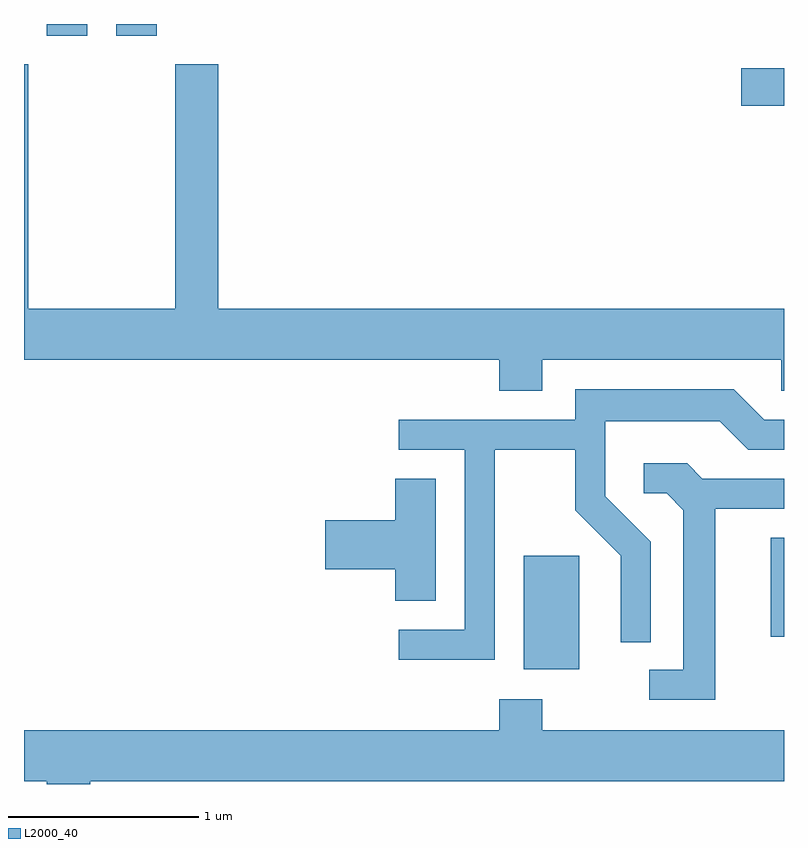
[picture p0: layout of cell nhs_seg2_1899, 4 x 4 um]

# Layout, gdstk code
import gdstk
lib = gdstk.Library(unit=1e-6, precision=1e-09)
def R(c, l, rs):  # rectangles x0, y0, x1, y1
    for r in rs: c.add(gdstk.rectangle(r[:2], r[2:], *l))
def P(c, l, *ps):  # polygons
    for p in ps: c.add(gdstk.Polygon(p, *l))
L2000_40 = (2000, 40)

nhs_seg2_1899 = lib.new_cell('nhs_seg2_1899')
R(nhs_seg2_1899, L2000_40, [(242.241,1104.406,242.534,1105.004), (243.541,1104.576,243.611,1105.099), (243.386,1107.371,243.611,1107.569), (239.731,1107.741,239.944,1107.802), (240.096,1107.741,240.309,1107.802)])
P(nhs_seg2_1899, L2000_40, [(242.339,1106.036),(243.596,1106.036),(243.596,1105.871),(243.611,1105.871),(243.611,1106.304),(240.634,1106.304),(240.634,1107.589),(240.406,1107.589),(240.406,1106.304),(239.634,1106.304),(239.634,1107.589),(239.611,1107.589),(239.611,1106.036),(242.111,1106.036),(242.111,1105.871),(242.339,1105.871)],
  [(242.089,1105.561),(242.511,1105.561),(242.511,1105.244),(242.751,1105.004),(242.751,1104.548),(242.909,1104.548),(242.909,1105.077),(242.669,1105.317),(242.669,1105.711),(243.274,1105.711),(243.424,1105.561),(243.611,1105.561),(243.611,1105.719),(243.507,1105.719),(243.347,1105.879),(242.511,1105.879),(242.511,1105.719),(241.583,1105.719),(241.583,1105.561),(241.931,1105.561),(241.931,1104.614),(241.583,1104.614),(241.583,1104.456),(242.089,1104.456)],
  [(243.249,1105.251),(243.611,1105.251),(243.611,1105.409),(243.182,1105.409),(243.102,1105.489),(242.873,1105.489),(242.873,1105.331),(242.994,1105.331),(243.081,1105.244),(243.081,1104.404),(242.903,1104.404),(242.903,1104.246),(243.249,1104.246)],
  [(241.779,1105.409),(241.566,1105.409),(241.566,1105.189),(241.196,1105.189),(241.196,1104.931),(241.566,1104.931),(241.566,1104.766),(241.779,1104.766)],
  [(239.611,1103.816),(239.731,1103.816),(239.731,1103.802),(239.959,1103.802),(239.959,1103.816),(243.611,1103.816),(243.611,1104.084),(242.339,1104.084),(242.339,1104.249),(242.111,1104.249),(242.111,1104.084),(239.611,1104.084)])

lib.write_gds('nhs_seg2_1899.gds')
